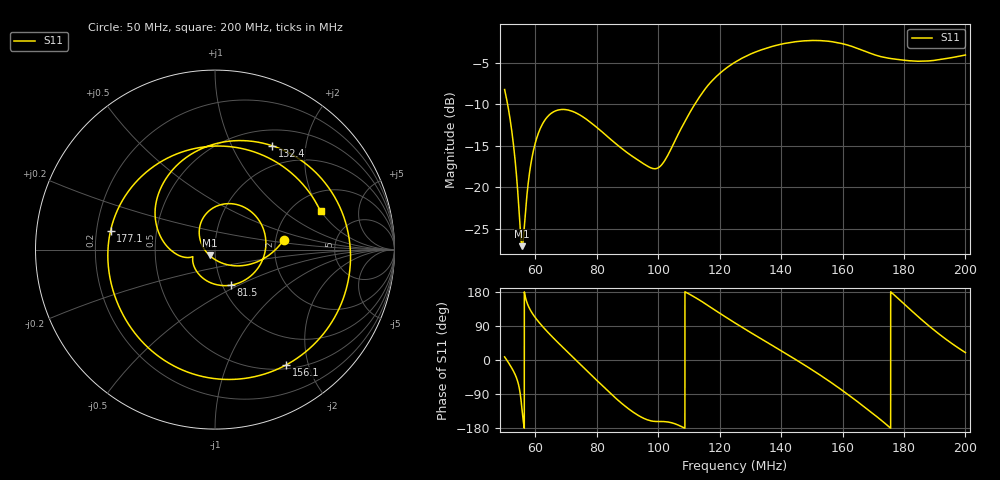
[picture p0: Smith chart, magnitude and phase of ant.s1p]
! COPPER MOUNTAIN TECHNOLOGIES, PLANAR TR1300/1, 00071119, 20.2.2/1.0
! Date: 1/7/2024 7:42:37 PM
! Data: Format [Calibration Info]
! Freq  S11: Re/Im F1
# HZ S RI R 50
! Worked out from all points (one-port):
!   12288 points, 50 MHz to 200 MHz, reference 50 ohm
!   lowest |S11| = -27.1 dB at 55.7 MHz (marker M1), VSWR 1.09, Z = 47 - j3.04 ohm
!   |S11| at or under -10 dB: 50.97 MHz to 111.9 MHz (60.94 MHz wide, 74.8 % of centre)
!   S11 on the Smith chart (normalised r, x): 50 MHz: 2.22, +0.29; 81.5 MHz: 1.10, -0.46; 132.4 MHz: 0.71, +1.45; 156.1 MHz: 0.55, -1.65; 177.1 MHz: 0.26, +0.08; 200 MHz: 2.87, +1.98
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5e7  0.3839 0.0556
5.267356e7  0.1748 -0.0861
5.512737e7  -0.0015 -0.0546
5.570115e7  -0.0303 -0.0323
5.830146e7  -0.0881 0.0947
6.047449e7  -0.0571 0.1901
6.436885e7  0.0891 0.2559
6.875153e7  0.241 0.1689
7.420851e7  0.272 -0.0383
8.14967e7  0.0909 -0.1977
8.750305e7  -0.0606 -0.1642
9.925938e7  -0.1234 -0.0396
1.062546e8  -0.2016 -0.0326
1.163506e8  -0.3305 0.2493
1.250061e8  -0.0765 0.5615
1.324408e8  0.3202 0.5781
1.377147e8  0.5776 0.4131
1.437576e8  0.7445 0.0792
1.49825e8  0.6961 -0.3185
1.560999e8  0.3964 -0.6425
1.625092e8  -0.0685 -0.7074
1.701148e8  -0.5024 -0.3816
1.770977e8  -0.5819 0.1053
1.812607e8  -0.4366 0.3804
1.854236e8  -0.1841 0.5437
1.896232e8  0.1 0.5717
1.951656e8  0.4187 0.4326
2e8  0.5899 0.2095
